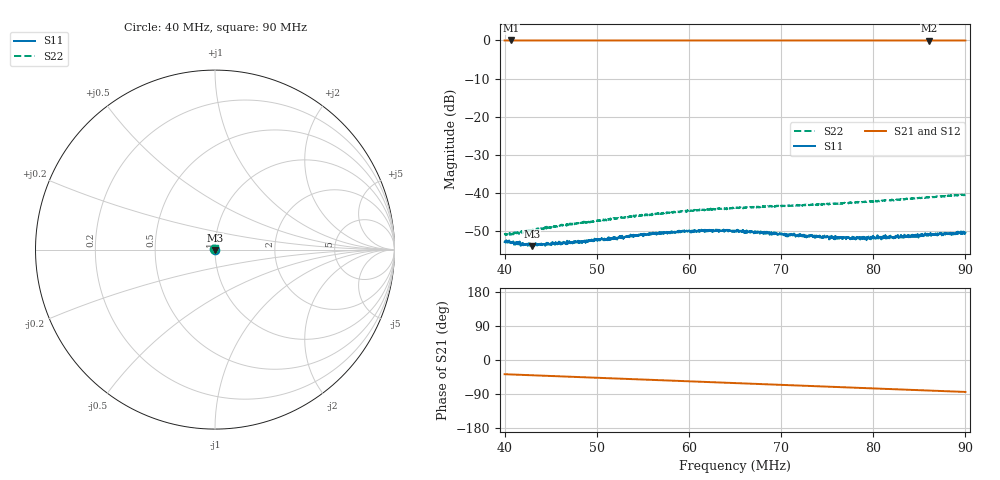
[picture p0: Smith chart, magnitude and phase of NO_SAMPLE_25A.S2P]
!Agilent Technologies,E5061B,MY49102235,A.02.00
!Date: Mon Jul 03 10:46:25 2023
!Data & Calibration Information:
!Freq	S11:SOLT2(ON)	S21:SOLT2(ON)	S12:SOLT2(ON)	S22:SOLT2(ON)
# Hz S RI R 50
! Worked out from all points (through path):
!   1600 points, 40 MHz to 90 MHz, reference 50 ohm
!   highest |S21| = 0.00 dB at 40.69 MHz (marker M1); lowest = 0.0 dB at 86.09 MHz (marker M2)
!   group delay of S21, straight-line fit = 2.6 ns
!   lowest |S11| = -53.9 dB at 42.94 MHz (marker M3), VSWR 1.00, Z = 49.9 - j0.193 ohm
!   |S11| at or under -10 dB: start of sweep to end of sweep
!   |S22| runs from -51.0 to -40.4 dB; largest |S21 - S12| = 0.0013
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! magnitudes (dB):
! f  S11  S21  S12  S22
! 40 MHz  -52.8  0.0  0.0  -50.8
! 40.69 MHz  -53.0  0.0  0.0  -50.6
! 40.94 MHz  -52.6  0.0  0.0  -50.5
! 41.41 MHz  -53.0  0.0  0.0  -50.2
! 41.94 MHz  -53.4  0.0  0.0  -50.5
! 42.94 MHz  -53.9  0.0  0.0  -50.0
! 48.35 MHz  -52.7  0.0  0.0  -47.8
! 56.67 MHz  -50.4  0.0  0.0  -45.2
! 59.82 MHz  -50.0  0.0  0.0  -44.4
! 64.23 MHz  -49.7  0.0  0.0  -43.9
! 65.02 MHz  -49.8  0.0  0.0  -44.0
! 67.74 MHz  -50.1  0.0  0.0  -43.7
! 70.55 MHz  -50.8  0.0  0.0  -43.2
! 71.21 MHz  -50.8  0.0  0.0  -43.3
! 72.8 MHz  -51.1  0.0  0.0  -43.1
! 73.36 MHz  -51.0  0.0  0.0  -42.9
! 74.43 MHz  -51.5  0.0  0.0  -43.0
! 77.71 MHz  -51.9  0.0  0.0  -42.6
! 81.68 MHz  -51.5  0.0  0.0  -41.8
! 83.06 MHz  -51.1  0.0  0.0  -41.7
! 86.09 MHz  -50.7  0.0  0.0  -41.1
! 90 MHz  -50.4  0.0  0.0  -40.4
